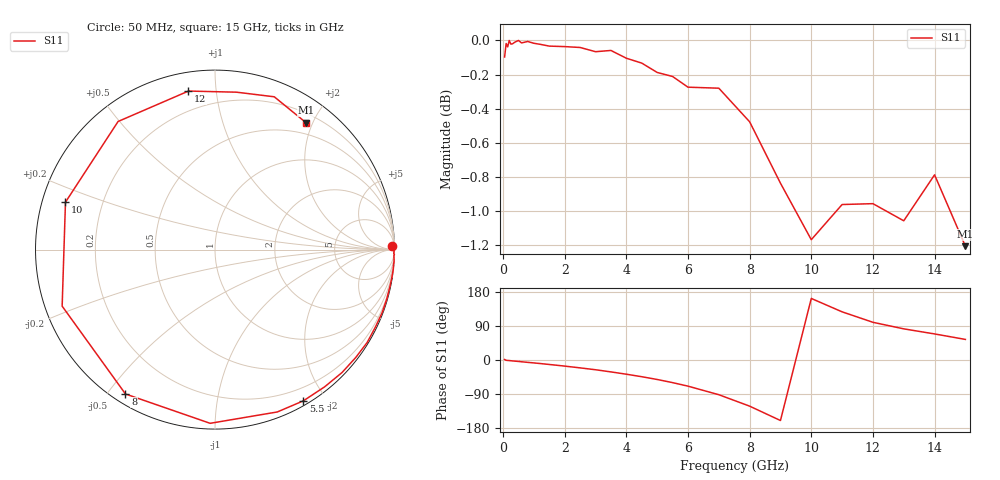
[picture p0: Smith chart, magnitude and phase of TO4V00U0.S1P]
! SIEMENS Small Signal Semiconductors
! BAT15-03W
! Si Schottky Diode in SOD323
! VR = 4 V
! S-Parameters:  May  1996
# GHz  S  MA  R  50
!  f  S11
! GHz  MAG  ANG
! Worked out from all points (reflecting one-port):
!   31 points, 50 MHz to 15 GHz, reference 50 ohm
!   lowest |S11| = -1.2 dB at 15 GHz (marker M1), VSWR 14.40, Z = 16.4 + j95.3 ohm
!   phase of S11 starts at 1 deg and turns -307 deg over the sweep
!   S11 on the Smith chart (normalised r, x): 50 MHz: 35, +71; 5.5 GHz: 0.05, -1.74; 8 GHz: 0.04, -0.56; 10 GHz: 0.07, +0.15; 12 GHz: 0.09, +0.84; 15 GHz: 0.33, +1.91
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0.05  0.9889 1.3
0.1  0.9979 -0.7
0.15  0.9957 -1.2
0.2  1 -1.5
0.25  0.9976 -1.9
0.3  0.9977 -2.4
0.5  1 -3.8
0.6  0.9983 -4.7
0.8  0.9993 -6.2
1.5  0.9962 -11.8
2  0.9958 -16.1
2.5  0.9953 -20.8
3  0.9924 -25.7
3.5  0.9932 -31.4
4  0.988 -37.5
4.5  0.9848 -44.1
5  0.9786 -51.4
5.5  0.9759 -59.7
6  0.9689 -69.0
7  0.9682 -91.6
8  0.9465 -121.8
9  0.908 -159.7
10  0.874 162.4
11  0.895 127.1
12  0.8955 99.5
13  0.8852 82.2
14  0.9132 68.8
15  0.8702 54.3
